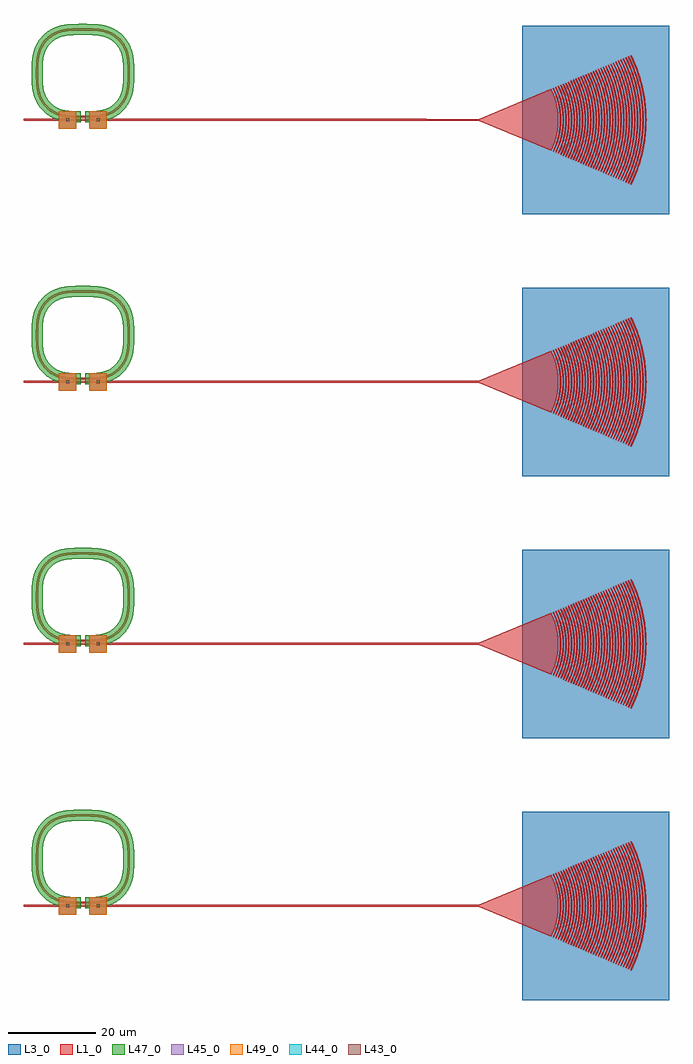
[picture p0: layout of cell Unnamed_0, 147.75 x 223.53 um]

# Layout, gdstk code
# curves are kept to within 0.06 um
import gdstk
lib = gdstk.Library(unit=1e-6, precision=1e-09)
def R(c, l, rs):  # rectangles x0, y0, x1, y1
    for r in rs: c.add(gdstk.rectangle(r[:2], r[2:], *l))
def P(c, l, *ps):  # polygons
    for p in ps: c.add(gdstk.Polygon(p, *l))
L1_0 = (1, 0)
L3_0 = (3, 0)
L43_0 = (43, 0)
L44_0 = (44, 0)
L45_0 = (45, 0)
L47_0 = (47, 0)
L49_0 = (49, 0)

ring_double_heater_gdsfa = lib.new_cell('ring_double_heater_gdsfactorypcomponentspringspring_hea_5fa26a63')
R(ring_double_heater_gdsfa, L1_0, [(-14,-0.25,13,0.25)])
P(ring_double_heater_gdsfa, L1_0, [(-1.416,0.45),(-3.233,0.497),(-4.496,0.63),(-5.609,0.864),(-6.688,1.243),(-7.7,1.784),(-8.615,2.476),(-9.318,3.193),(-9.992,4.121),(-10.457,5.012),(-10.797,5.954),(-11.048,7.064),(-11.194,8.327),(-11.25,10.284),(-11.203,12.943),(-11.048,14.346),(-10.756,15.593),(-10.137,17.041),(-9.318,18.217),(-8.285,19.21),(-7.078,19.983),(-5.902,20.46),(-1.415,20.46),(-3.065,20.422),(-4.285,20.306),(-5.477,20.063),(-6.488,19.709),(-7.431,19.205),(-8.283,18.56),(-9.024,17.789),(-9.635,16.913),(-10.051,16.075),(-10.388,15.056),(-10.596,13.995),(-10.712,12.775),(-10.749,10.008),(-10.695,8.362),(-10.531,7.013),(-10.237,5.837),(-9.887,4.969),(-9.495,4.269),(-9.024,3.621),(-8.479,3.032),(-7.203,2.065),(-6.488,1.701),(-5.606,1.383),(-4.553,1.146),(-3.338,1.005),(0.692,0.951),(2.881,1.053),(4.735,1.422),(5.61,1.756),(6.431,2.205),(7.182,2.762),(7.76,3.318),(8.269,3.938),(8.765,4.731),(9.149,5.584),(9.388,6.354),(9.596,7.415),(9.719,8.772),(9.704,12.912),(9.596,13.995),(9.388,15.056),(9.101,15.951),(8.701,16.797),(7.85,17.993),(6.869,18.899),(5.731,19.597),(4.346,20.098),(3.151,20.324),(1.655,20.441),(-5.902,20.46),(-5.055,20.679),(-3.935,20.854),(-1.416,20.96),(2.514,20.893),(3.776,20.733),(4.883,20.466),(5.688,20.167),(6.455,19.776),(7.171,19.298),(7.826,18.739),(8.41,18.107),(8.992,17.289),(9.398,16.529),(9.712,15.729),(9.969,14.765),(10.128,13.785),(10.249,11.405),(10.171,8.046),(10.023,6.924),(9.756,5.817),(9.137,4.369),(8.318,3.193),(7.285,2.2),(5.949,1.363),(4.609,0.864),(3.075,0.572),(1.392,0.461)])
R(ring_double_heater_gdsfa, L43_0, [(-4.35,-0.35,-3.65,0.35), (2.65,-0.35,3.35,0.35)])
R(ring_double_heater_gdsfa, L44_0, [(-4.35,-0.35,-3.65,0.35), (2.65,-0.35,3.35,0.35)])
R(ring_double_heater_gdsfa, L45_0, [(-6,-2,-2,2), (1,-2,5,2)])
P(ring_double_heater_gdsfa, L47_0, [(-6,-2),(-6,-0.064),(-6.939,0.263),(-7.961,0.771),(-8.904,1.415),(-9.75,2.181),(-10.385,2.925),(-11.01,3.88),(-11.498,4.912),(-11.841,5.98),(-12.081,7.203),(-12.21,8.552),(-12.191,13.154),(-12.034,14.511),(-11.8,15.583),(-11.437,16.649),(-11.01,17.53),(-9.862,19.11),(-8.511,20.287),(-6.788,21.208),(-4.954,21.717),(-2.417,21.948),(2.593,21.89),(4.873,21.51),(5.939,21.147),(6.82,20.72),(8.031,19.893),(9.183,18.741),(10.01,17.53),(10.61,16.194),(10.979,14.817),(11.191,13.154),(11.25,10.281),(11.18,8.107),(11.034,6.899),(10.757,5.674),(10.373,4.611),(9.845,3.599),(8.862,2.3),(7.775,1.315),(6.532,0.536),(5,-0.064),(5,-2),(1,-2),(1,-0.546),(0,-0.55),(0,1.95),(3.021,2.077),(4.098,2.281),(5.087,2.618),(5.987,3.11),(6.786,3.753),(7.46,4.526),(7.987,5.405),(8.419,6.602),(8.665,8.052),(8.748,9.879),(8.714,12.72),(8.588,13.977),(8.323,15.148),(7.936,16.107),(7.392,16.976),(6.703,17.736),(5.891,18.363),(4.982,18.837),(3.982,19.158),(1.75,19.436),(-2.75,19.436),(-4.747,19.211),(-6.397,18.646),(-7.174,18.17),(-7.786,17.657),(-8.392,16.976),(-8.829,16.308),(-9.25,15.37),(-9.547,14.219),(-9.706,12.849),(-9.75,11.123),(-9.726,8.95),(-9.588,7.433),(-9.287,6.15),(-8.829,5.102),(-8.25,4.255),(-7.532,3.523),(-6.697,2.928),(-5.876,2.53),(-4.982,2.252),(-3.898,2.062),(-1,1.95),(-1,-0.55),(-2,-0.546),(-2,-2)])
R(ring_double_heater_gdsfa, L49_0, [(-6,-2,-2,2), (1,-2,5,2)])

mrr_1x1_heater_tin_g0p2_ = lib.new_cell('mrr_1x1_heater_tin_G0p2_R10')
mrr_1x1_heater_tin_g0p2_.add(gdstk.Reference(ring_double_heater_gdsfa, (0,0)))

c__gc_pte_tl16p6_ta40_w1p5 = lib.new_cell('_gc_Pte_TL16p6_TA40_W1p554_FA15_GLW0p343_N2p638_N1p443__4d3a4ab3')
P(c__gc_pte_tl16p6_ta40_w1p5, L1_0, [(16.778,-7.078),(0.158,-0.2),(-11.842,-0.25),(-11.842,0.25),(0.158,0.2),(16.778,7.078),(17.444,5.522),(18.009,3.632),(18.306,1.968),(18.427,0),(18.306,-1.968),(18.009,-3.632),(17.444,-5.522)],
  [(17.35,-7.327),(17.066,-7.191),(17.744,-5.61),(18.318,-3.689),(18.619,-1.999),(18.742,0),(18.619,1.999),(18.318,3.689),(17.744,5.61),(17.066,7.191),(17.35,7.327),(18.04,5.718),(18.32,4.888),(18.624,3.761),(18.85,2.615),(18.965,1.748),(19.058,0),(18.965,-1.748),(18.85,-2.615),(18.624,-3.761),(18.32,-4.888),(18.04,-5.718)],
  [(17.924,-7.57),(17.64,-7.432),(18.012,-6.624),(18.44,-5.519),(18.934,-3.813),(19.245,-2.065),(19.349,-0.888),(19.372,0),(19.349,0.888),(19.245,2.065),(18.934,3.813),(18.44,5.519),(18.012,6.624),(17.64,7.432),(17.924,7.57),(18.302,6.748),(18.738,5.623),(19.24,3.885),(19.473,2.702),(19.592,1.806),(19.688,0),(19.592,-1.806),(19.473,-2.702),(19.24,-3.885),(18.738,-5.623),(18.302,-6.748)],
  [(18.498,-7.811),(18.214,-7.675),(18.716,-6.558),(19.137,-5.409),(19.4,-4.531),(19.677,-3.34),(19.935,-1.525),(20.002,0),(19.935,1.525),(19.677,3.34),(19.4,4.531),(19.137,5.409),(18.716,6.558),(18.214,7.675),(18.498,7.811),(19.233,6.095),(19.62,4.913),(19.856,4.009),(20.096,2.788),(20.219,1.863),(20.318,0),(20.219,-1.863),(20.096,-2.788),(19.856,-4.009),(19.62,-4.913),(19.233,-6.095)],
  [(19.071,-8.053),(18.787,-7.917),(19.305,-6.764),(19.74,-5.58),(20.091,-4.369),(20.297,-3.446),(20.563,-1.574),(20.632,0),(20.563,1.574),(20.297,3.446),(20.091,4.369),(19.74,5.58),(19.305,6.764),(18.787,7.917),(19.071,8.053),(19.597,6.884),(19.937,5.982),(20.471,4.134),(20.719,2.875),(20.846,1.921),(20.948,0),(20.846,-1.921),(20.719,-2.875),(20.471,-4.134),(19.937,-5.982),(19.597,-6.884)],
  [(19.645,-8.295),(19.361,-8.159),(19.895,-6.97),(20.239,-6.058),(20.622,-4.816),(20.917,-3.551),(21.159,-1.945),(21.262,0),(21.159,1.945),(20.917,3.551),(20.622,4.816),(20.239,6.058),(19.895,6.97),(19.361,8.159),(19.645,8.295),(20.187,7.09),(20.537,6.162),(21.087,4.258),(21.287,3.286),(21.473,1.979),(21.578,0),(21.473,-1.979),(21.287,-3.286),(21.087,-4.258),(20.537,-6.162),(20.187,-7.09)],
  [(20.219,-8.537),(19.935,-8.401),(20.484,-7.178),(20.945,-5.921),(21.233,-4.959),(21.536,-3.656),(21.786,-2.002),(21.892,0),(21.786,2.002),(21.536,3.656),(21.233,4.959),(20.945,5.921),(20.484,7.178),(19.935,8.401),(20.219,8.537),(21.022,6.662),(21.349,5.694),(21.703,4.382),(21.965,3.047),(22.1,2.036),(22.208,0),(22.1,-2.036),(21.965,-3.047),(21.703,-4.382),(21.349,-5.694),(21.022,-6.662)],
  [(20.792,-8.779),(20.508,-8.643),(21.073,-7.384),(21.438,-6.418),(21.844,-5.102),(22.156,-3.762),(22.413,-2.06),(22.522,0),(22.413,2.06),(22.156,3.762),(21.844,5.102),(21.438,6.418),(21.073,7.384),(20.508,8.643),(20.792,8.779),(21.365,7.504),(21.736,6.522),(22.319,4.506),(22.589,3.134),(22.727,2.094),(22.838,0),(22.727,-2.094),(22.589,-3.134),(22.319,-4.506),(21.736,-6.522),(21.365,-7.504)],
  [(21.366,-9.021),(21.082,-8.885),(21.663,-7.591),(22.038,-6.597),(22.455,-5.245),(22.776,-3.867),(23.04,-2.118),(23.152,0),(23.04,2.118),(22.776,3.867),(22.455,5.245),(22.038,6.597),(21.663,7.591),(21.082,8.885),(21.366,9.021),(21.955,7.711),(22.336,6.701),(22.934,4.63),(23.212,3.22),(23.354,2.152),(23.468,0),(23.354,-2.152),(23.212,-3.22),(22.934,-4.63),(22.336,-6.701),(21.955,-7.711)],
  [(21.939,-9.263),(21.655,-9.127),(22.252,-7.799),(22.754,-6.433),(23.158,-5.036),(23.396,-3.972),(23.667,-2.176),(23.782,0),(23.667,2.176),(23.396,3.972),(23.158,5.036),(22.754,6.433),(22.252,7.799),(21.655,9.127),(21.939,9.263),(22.402,8.258),(22.935,6.881),(23.55,4.754),(23.835,3.306),(23.981,2.21),(24.098,0),(23.981,-2.21),(23.835,-3.306),(23.55,-4.754),(22.935,-6.881),(22.402,-8.258)],
  [(22.513,-9.505),(22.229,-9.369),(22.698,-8.349),(23.237,-6.957),(23.677,-5.531),(24.015,-4.078),(24.294,-2.233),(24.412,0),(24.294,2.233),(24.015,4.078),(23.677,5.531),(23.237,6.957),(22.698,8.349),(22.229,9.369),(22.513,9.505),(23.134,8.124),(23.535,7.061),(24.166,4.879),(24.458,3.393),(24.608,2.267),(24.728,0),(24.608,-2.267),(24.458,-3.393),(24.166,-4.879),(23.535,-7.061),(23.134,-8.124)],
  [(23.087,-9.747),(22.803,-9.611),(23.431,-8.211),(23.837,-7.136),(24.288,-5.674),(24.635,-4.183),(24.958,-1.91),(25.042,0),(24.958,1.91),(24.635,4.183),(24.288,5.674),(23.837,7.136),(23.431,8.211),(22.803,9.611),(23.087,9.747),(23.723,8.331),(24.135,7.24),(24.781,5.003),(25.081,3.479),(25.234,2.325),(25.358,0),(25.234,-2.325),(25.081,-3.479),(24.781,-5.003),(24.135,-7.24),(23.723,-8.331)],
  [(23.66,-9.99),(23.376,-9.852),(24.021,-8.419),(24.562,-6.945),(24.998,-5.437),(25.255,-4.287),(25.586,-1.958),(25.672,0),(25.586,1.958),(25.255,4.287),(24.998,5.437),(24.562,6.945),(24.021,8.419),(23.376,9.852),(23.66,9.99),(24.313,8.537),(24.734,7.42),(25.096,6.282),(25.397,5.127),(25.638,3.958),(25.861,2.383),(25.988,0),(25.861,-2.383),(25.638,-3.958),(25.397,-5.127),(25.096,-6.282),(24.734,-7.42),(24.313,-8.537)],
  [(24.234,-10.231),(23.95,-10.095),(24.61,-8.626),(25.165,-7.115),(25.612,-5.57),(25.875,-4.394),(26.076,-3.205),(26.213,-2.007),(26.302,0),(26.213,2.007),(26.076,3.205),(25.875,4.394),(25.612,5.57),(25.165,7.115),(24.61,8.626),(23.95,10.095),(24.234,10.231),(24.745,9.121),(25.334,7.6),(25.704,6.434),(26.013,5.251),(26.327,3.652),(26.488,2.44),(26.618,0),(26.488,-2.44),(26.327,-3.652),(26.013,-5.251),(25.704,-6.434),(25.334,-7.6),(24.745,-9.121)],
  [(24.808,-10.473),(24.524,-10.337),(25.2,-8.832),(25.636,-7.676),(26.121,-6.102),(26.494,-4.499),(26.7,-3.281),(26.841,-2.055),(26.932,0),(26.841,2.055),(26.7,3.281),(26.494,4.499),(26.121,6.102),(25.636,7.676),(25.2,8.832),(24.524,10.337),(24.808,10.473),(25.331,9.336),(25.934,7.78),(26.313,6.586),(26.629,5.375),(26.951,3.738),(27.115,2.498),(27.214,1.25),(27.248,0),(27.214,-1.25),(27.115,-2.498),(26.951,-3.738),(26.629,-5.375),(26.313,-6.586),(25.934,-7.78),(25.331,-9.336)],
  [(25.381,-10.715),(25.097,-10.579),(25.789,-9.038),(26.235,-7.855),(26.619,-6.651),(27.03,-5.017),(27.262,-3.774),(27.428,-2.522),(27.529,-1.263),(27.562,0),(27.529,1.263),(27.428,2.522),(27.262,3.774),(27.03,5.017),(26.619,6.651),(26.235,7.855),(25.789,9.038),(25.097,10.579),(25.381,10.715),(25.916,9.552),(26.39,8.361),(26.8,7.147),(27.244,5.5),(27.574,3.824),(27.742,2.556),(27.843,1.279),(27.878,0),(27.843,-1.279),(27.742,-2.556),(27.574,-3.824),(27.244,-5.5),(26.8,-7.147),(26.39,-8.361),(25.916,-9.552)],
  [(25.955,-10.957),(25.671,-10.821),(26.378,-9.246),(26.973,-7.627),(27.452,-5.971),(27.734,-4.71),(27.95,-3.435),(28.097,-2.151),(28.192,0),(28.097,2.151),(27.95,3.435),(27.734,4.71),(27.452,5.971),(26.973,7.627),(26.378,9.246),(25.671,10.821),(25.955,10.957),(26.502,9.768),(27.133,8.139),(27.53,6.891),(27.86,5.624),(28.197,3.911),(28.369,2.613),(28.472,1.308),(28.508,0),(28.472,-1.308),(28.369,-2.613),(28.197,-3.911),(27.86,-5.624),(27.53,-6.891),(27.133,-8.139),(26.502,-9.768)],
  [(26.528,-11.199),(26.244,-11.063),(26.798,-9.859),(27.435,-8.215),(27.836,-6.955),(28.266,-5.246),(28.508,-3.947),(28.682,-2.637),(28.787,-1.321),(28.822,0),(28.787,1.321),(28.682,2.637),(28.508,3.947),(28.266,5.246),(27.836,6.955),(27.435,8.215),(26.798,9.859),(26.244,11.063),(26.528,11.199),(27.26,9.572),(27.733,8.319),(28.138,7.043),(28.476,5.748),(28.82,3.997),(28.996,2.671),(29.101,1.337),(29.138,0),(29.101,-1.337),(28.996,-2.671),(28.82,-3.997),(28.476,-5.748),(28.138,-7.043),(27.733,-8.319),(27.26,-9.572)],
  [(27.102,-11.441),(26.818,-11.305),(27.557,-9.659),(28.178,-7.968),(28.565,-6.674),(28.974,-4.92),(29.199,-3.589),(29.353,-2.247),(29.452,0),(29.353,2.247),(29.199,3.589),(28.974,4.92),(28.565,6.674),(28.178,7.968),(27.557,9.659),(26.818,11.305),(27.102,11.441),(27.673,10.199),(28.179,8.927),(28.617,7.631),(29.092,5.872),(29.443,4.083),(29.623,2.729),(29.731,1.366),(29.768,0),(29.731,-1.366),(29.623,-2.729),(29.443,-4.083),(29.092,-5.872),(28.617,-7.631),(28.179,-8.927),(27.673,-10.199)],
  [(27.676,-11.683),(27.392,-11.547),(28.147,-9.866),(28.634,-8.574),(29.177,-6.817),(29.501,-5.476),(29.754,-4.12),(29.936,-2.753),(30.046,-1.379),(30.082,0),(30.046,1.379),(29.936,2.753),(29.754,4.12),(29.501,5.476),(29.177,6.817),(28.634,8.574),(28.147,9.866),(27.392,11.547),(27.676,11.683),(28.259,10.415),(28.932,8.678),(29.355,7.347),(29.707,5.996),(30.066,4.17),(30.25,2.787),(30.36,1.395),(30.398,0),(30.36,-1.395),(30.25,-2.787),(30.066,-4.17),(29.707,-5.996),(29.355,-7.347),(28.932,-8.678),(28.259,-10.415)],
  [(28.249,-11.925),(27.965,-11.789),(28.555,-10.506),(29.234,-8.754),(29.788,-6.959),(30.119,-5.591),(30.377,-4.206),(30.563,-2.81),(30.675,-1.408),(30.712,0),(30.675,1.408),(30.563,2.81),(30.377,4.206),(30.119,5.591),(29.788,6.959),(29.234,8.754),(28.555,10.506),(27.965,11.789),(28.249,11.925),(28.845,10.63),(29.532,8.858),(29.963,7.499),(30.323,6.12),(30.61,4.725),(30.877,2.844),(30.989,1.424),(31.028,0),(30.989,-1.424),(30.877,-2.844),(30.61,-4.725),(30.323,-6.12),(29.963,-7.499),(29.532,-8.858),(28.845,-10.63)],
  [(28.823,-12.167),(28.539,-12.031),(29.326,-10.28),(29.833,-8.934),(30.27,-7.563),(30.737,-5.705),(31.001,-4.293),(31.19,-2.868),(31.304,-1.436),(31.342,0),(31.304,1.436),(31.19,2.868),(31.001,4.293),(30.737,5.705),(30.27,7.563),(29.833,8.934),(29.326,10.28),(28.539,12.031),(28.823,12.167),(29.431,10.846),(30.131,9.038),(30.572,7.651),(30.939,6.245),(31.313,4.343),(31.504,2.902),(31.618,1.452),(31.658,0),(31.618,-1.452),(31.504,-2.902),(31.313,-4.343),(30.939,-6.245),(30.572,-7.651),(30.131,-9.038),(29.431,-10.846)],
  [(29.397,-12.409),(29.113,-12.273),(29.915,-10.486),(30.433,-9.113),(31.01,-7.245),(31.355,-5.82),(31.624,-4.379),(31.817,-2.926),(31.934,-1.465),(31.972,0),(31.934,1.465),(31.817,2.926),(31.624,4.379),(31.355,5.82),(31.01,7.245),(30.433,9.113),(29.915,10.486),(29.113,12.273),(29.397,12.409),(30.207,10.606),(30.731,9.217),(31.18,7.804),(31.554,6.369),(31.936,4.429),(32.131,2.96),(32.248,1.481),(32.288,0),(32.248,-1.481),(32.131,-2.96),(31.936,-4.429),(31.554,-6.369),(31.18,-7.804),(30.731,-9.217),(30.207,-10.606)],
  [(29.97,-12.651),(29.686,-12.515),(30.504,-10.694),(31.033,-9.293),(31.487,-7.868),(31.973,-5.935),(32.247,-4.465),(32.444,-2.983),(32.563,-1.494),(32.602,0),(32.563,1.494),(32.444,2.983),(32.247,4.465),(31.973,5.935),(31.487,7.868),(31.033,9.293),(30.504,10.694),(29.686,12.515),(29.97,12.651),(30.602,11.277),(31.331,9.397),(31.789,7.956),(32.17,6.493),(32.559,4.515),(32.758,3.017),(32.877,1.51),(32.918,0),(32.877,-1.51),(32.758,-3.017),(32.559,-4.515),(32.17,-6.493),(31.789,-7.956),(31.331,-9.397),(30.602,-11.277)],
  [(30.544,-12.893),(30.26,-12.757),(31.094,-10.9),(31.632,-9.473),(32.232,-7.531),(32.59,-6.05),(32.87,-4.552),(33.071,-3.041),(33.192,-1.523),(33.232,0),(33.192,1.523),(33.071,3.041),(32.87,4.552),(32.59,6.05),(32.232,7.531),(31.632,9.473),(31.094,10.9),(30.26,12.757),(30.544,12.893),(31.188,11.493),(31.93,9.577),(32.397,8.108),(32.786,6.617),(33.182,4.602),(33.385,3.075),(33.506,1.539),(33.548,0),(33.506,-1.539),(33.385,-3.075),(33.182,-4.602),(32.786,-6.617),(32.397,-8.108),(31.93,-9.577),(31.188,-11.493)],
  [(31.117,-13.135),(30.833,-12.999),(31.483,-11.585),(32.232,-9.652),(32.843,-7.674),(33.208,-6.164),(33.493,-4.638),(33.698,-3.099),(33.821,-1.552),(33.862,0),(33.821,1.552),(33.698,3.099),(33.493,4.638),(33.208,6.164),(32.843,7.674),(32.232,9.652),(31.483,11.585),(30.833,12.999),(31.117,13.135),(31.773,11.709),(32.354,10.249),(32.856,8.761),(33.402,6.741),(33.718,5.204),(34.012,3.133),(34.135,1.568),(34.178,0),(34.135,-1.568),(34.012,-3.133),(33.718,-5.204),(33.402,-6.741),(32.856,-8.761),(32.354,-10.249),(31.773,-11.709)],
  [(31.691,-13.377),(31.407,-13.241),(32.273,-11.313),(32.831,-9.832),(33.454,-7.817),(33.826,-6.279),(34.116,-4.724),(34.325,-3.156),(34.451,-1.581),(34.492,0),(34.451,1.581),(34.325,3.156),(34.116,4.724),(33.826,6.279),(33.454,7.817),(32.831,9.832),(32.273,11.313),(31.407,13.241),(31.691,13.377),(32.359,11.924),(32.95,10.438),(33.614,8.412),(34.017,6.865),(34.428,4.774),(34.639,3.19),(34.765,1.597),(34.808,0),(34.765,-1.597),(34.639,-3.19),(34.428,-4.774),(34.017,-6.865),(33.614,-8.412),(32.95,-10.438),(32.359,-11.924)],
  [(32.265,-13.619),(31.981,-13.483),(32.655,-12.016),(33.431,-10.012),(34.065,-7.96),(34.444,-6.394),(34.739,-4.811),(34.952,-3.214),(35.08,-1.61),(35.122,0),(35.08,1.61),(34.952,3.214),(34.739,4.811),(34.444,6.394),(34.065,7.96),(33.431,10.012),(32.655,12.016),(31.981,13.483),(32.265,13.619),(33.154,11.64),(33.729,10.116),(34.222,8.564),(34.633,6.99),(34.961,5.396),(35.266,3.248),(35.394,1.626),(35.438,0),(35.394,-1.626),(35.266,-3.248),(34.961,-5.396),(34.633,-6.99),(34.222,-8.564),(33.729,-10.116),(33.154,-11.64)],
  [(32.838,-13.861),(32.554,-13.725),(33.241,-12.232),(34.031,-10.192),(34.529,-8.629),(35.062,-6.509),(35.363,-4.897),(35.579,-3.272),(35.709,-1.639),(35.752,0),(35.709,1.639),(35.579,3.272),(35.363,4.897),(35.062,6.509),(34.529,8.629),(34.031,10.192),(33.241,12.232),(32.554,13.725),(32.838,13.861),(33.531,12.356),(34.329,10.296),(34.831,8.717),(35.249,7.114),(35.675,4.947),(35.893,3.306),(36.023,1.655),(36.068,0),(36.023,-1.655),(35.893,-3.306),(35.675,-4.947),(35.249,-7.114),(34.831,-8.717),(34.329,-10.296),(33.531,-12.356)],
  [(33.412,-14.103),(33.128,-13.967),(34.041,-11.933),(34.63,-10.371),(35.137,-8.781),(35.68,-6.623),(35.986,-4.983),(36.206,-3.33),(36.338,-1.668),(36.382,0),(36.338,1.668),(36.206,3.33),(35.986,4.983),(35.68,6.623),(35.137,8.781),(34.63,10.371),(34.041,11.933),(33.128,13.967),(33.412,14.103),(34.116,12.571),(34.739,11.004),(35.439,8.869),(35.865,7.238),(36.298,5.033),(36.52,3.364),(36.652,1.684),(36.698,0),(36.652,-1.684),(36.52,-3.364),(36.298,-5.033),(35.865,-7.238),(35.439,-8.869),(34.739,-11.004),(34.116,-12.571)],
  [(33.986,-14.345),(33.702,-14.209),(34.631,-12.141),(35.23,-10.551),(35.898,-8.388),(36.297,-6.738),(36.609,-5.07),(36.832,-3.388),(36.967,-1.696),(37.012,0),(36.967,1.696),(36.832,3.388),(36.609,5.07),(36.297,6.738),(35.898,8.388),(35.23,10.551),(34.631,12.141),(33.702,14.209),(33.986,14.345),(34.702,12.787),(35.336,11.193),(35.885,9.568),(36.48,7.362),(36.825,5.683),(37.081,3.988),(37.246,2.283),(37.328,0),(37.246,-2.283),(37.081,-3.988),(36.825,-5.683),(36.48,-7.362),(35.885,-9.568),(35.336,-11.193),(34.702,-12.787)],
  [(34.559,-14.587),(34.275,-14.451),(35.22,-12.348),(35.83,-10.731),(36.354,-9.085),(36.915,-6.853),(37.232,-5.156),(37.459,-3.445),(37.597,-1.725),(37.642,0),(37.597,1.725),(37.459,3.445),(37.232,5.156),(36.915,6.853),(36.509,8.531),(35.83,10.731),(35.22,12.348),(34.275,14.451),(34.559,14.587),(35.288,13.003),(36.128,10.835),(36.656,9.173),(37.096,7.486),(37.544,5.206),(37.773,3.479),(37.911,1.741),(37.958,0),(37.911,-1.741),(37.773,-3.479),(37.544,-5.206),(37.096,-7.486),(36.656,-9.173),(36.128,-10.835),(35.288,-13.003)],
  [(35.133,-14.829),(34.849,-14.693),(35.584,-13.095),(36.429,-10.91),(37.12,-8.674),(37.533,-6.968),(37.855,-5.242),(38.086,-3.503),(38.226,-1.754),(38.272,0),(38.226,1.754),(38.086,3.503),(37.855,5.242),(37.533,6.968),(37.12,8.674),(36.429,10.91),(35.584,13.095),(34.849,14.693),(35.133,14.829),(35.874,13.219),(36.727,11.014),(37.264,9.325),(37.712,7.61),(38.167,5.292),(38.4,3.537),(38.54,1.77),(38.588,0),(38.54,-1.77),(38.4,-3.537),(38.167,-5.292),(37.712,-7.61),(37.264,-9.325),(36.727,-11.014),(35.874,-13.219)])
R(c__gc_pte_tl16p6_ta40_w1p5, L3_0, [(10.158,-21.575,43.746,21.575)])

straight_gdsfactorypcomp = lib.new_cell('straight_gdsfactorypcomponentspwaveguidespstraight_L65p_61c856c9')
R(straight_gdsfactorypcomp, L1_0, [(0,-0.25,65.158,0.25)])

unnamed_0 = lib.new_cell('Unnamed_0')
unnamed_0.add(gdstk.Reference(mrr_1x1_heater_tin_g0p2_, (0,-100)))
unnamed_0.add(gdstk.Reference(mrr_1x1_heater_tin_g0p2_, (0,-40)))
unnamed_0.add(gdstk.Reference(mrr_1x1_heater_tin_g0p2_, (0,20)))
unnamed_0.add(gdstk.Reference(mrr_1x1_heater_tin_g0p2_, (0,80)))
unnamed_0.add(gdstk.Reference(c__gc_pte_tl16p6_ta40_w1p5, (90,-100)))
unnamed_0.add(gdstk.Reference(c__gc_pte_tl16p6_ta40_w1p5, (90,-40)))
unnamed_0.add(gdstk.Reference(c__gc_pte_tl16p6_ta40_w1p5, (90,20)))
unnamed_0.add(gdstk.Reference(c__gc_pte_tl16p6_ta40_w1p5, (90,80)))
unnamed_0.add(gdstk.Reference(straight_gdsfactorypcomp, (13,-100)))
unnamed_0.add(gdstk.Reference(straight_gdsfactorypcomp, (13,-40)))
unnamed_0.add(gdstk.Reference(straight_gdsfactorypcomp, (13,20)))
unnamed_0.add(gdstk.Reference(straight_gdsfactorypcomp, (13,80)))

lib.write_gds('Unnamed_0.gds')
